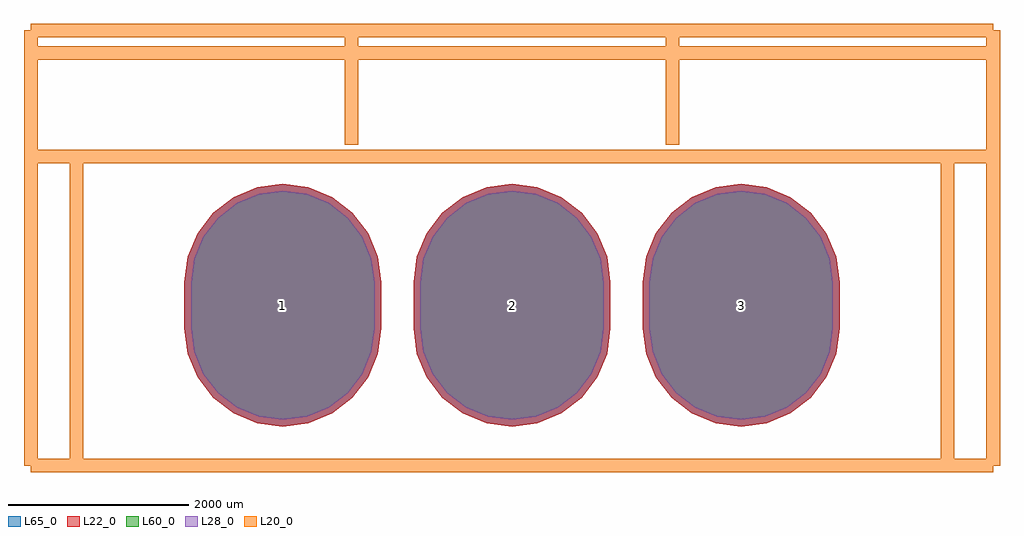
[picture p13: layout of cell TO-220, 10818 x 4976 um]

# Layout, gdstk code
import gdstk
lib = gdstk.Library(unit=1e-6, precision=1e-09)
def P(c, l, *ps):  # polygons
    for p in ps: c.add(gdstk.Polygon(p, *l))
L20_0 = (20, 0)
L22_0 = (22, 0)
L28_0 = (28, 0)
L60_0 = (60, 0)
L65_0 = (65, 0)

to_220 = lib.new_cell('TO-220')
P(to_220, L22_0, [(-2540,-1345),(-2257.628,-1307.825),(-1994.5,-1198.834),(-1768.547,-1025.453),(-1595.166,-799.5),(-1486.175,-536.372),(-1449,-254),(-1449,254),(-1486.175,536.372),(-1595.166,799.5),(-1768.547,1025.453),(-1994.5,1198.834),(-2257.628,1307.825),(-2540,1345),(-2822.372,1307.825),(-3085.5,1198.834),(-3311.453,1025.453),(-3484.834,799.5),(-3593.825,536.372),(-3631,254),(-3631,-254),(-3593.825,-536.372),(-3484.834,-799.5),(-3311.453,-1025.453),(-3085.5,-1198.834),(-2822.372,-1307.825)],
  [(2540,-1345),(2822.372,-1307.825),(3085.5,-1198.834),(3311.453,-1025.453),(3484.834,-799.5),(3593.825,-536.372),(3631,-254),(3631,254),(3593.825,536.372),(3484.834,799.5),(3311.453,1025.453),(3085.5,1198.834),(2822.372,1307.825),(2540,1345),(2257.628,1307.825),(1994.5,1198.834),(1768.547,1025.453),(1595.166,799.5),(1486.175,536.372),(1449,254),(1449,-254),(1486.175,-536.372),(1595.166,-799.5),(1768.547,-1025.453),(1994.5,-1198.834),(2257.628,-1307.825)],
  [(0,-1345),(282.372,-1307.825),(545.5,-1198.834),(771.453,-1025.453),(944.834,-799.5),(1053.825,-536.372),(1091,-254),(1091,254),(1053.825,536.372),(944.834,799.5),(771.453,1025.453),(545.5,1198.834),(282.372,1307.825),(0,1345),(-282.372,1307.825),(-545.5,1198.834),(-771.453,1025.453),(-944.834,799.5),(-1053.825,536.372),(-1091,254),(-1091,-254),(-1053.825,-536.372),(-944.834,-799.5),(-771.453,-1025.453),(-545.5,-1198.834),(-282.372,-1307.825)])
P(to_220, L28_0, [(-2540,-1270),(-2277.04,-1235.381),(-2032,-1133.882),(-1821.58,-972.42),(-1660.118,-762),(-1558.619,-516.96),(-1524,-254),(-1524,254),(-1558.619,516.96),(-1660.118,762),(-1821.58,972.42),(-2032,1133.882),(-2277.04,1235.381),(-2540,1270),(-2802.96,1235.381),(-3048,1133.882),(-3258.42,972.42),(-3419.882,762),(-3521.381,516.96),(-3556,254),(-3556,-254),(-3521.381,-516.96),(-3419.882,-762),(-3258.42,-972.42),(-3048,-1133.882),(-2802.96,-1235.381)],
  [(2540,-1270),(2802.96,-1235.381),(3048,-1133.882),(3258.42,-972.42),(3419.882,-762),(3521.381,-516.96),(3556,-254),(3556,254),(3521.381,516.96),(3419.882,762),(3258.42,972.42),(3048,1133.882),(2802.96,1235.381),(2540,1270),(2277.04,1235.381),(2032,1133.882),(1821.58,972.42),(1660.118,762),(1558.619,516.96),(1524,254),(1524,-254),(1558.619,-516.96),(1660.118,-762),(1821.58,-972.42),(2032,-1133.882),(2277.04,-1235.381)],
  [(0,-1270),(262.96,-1235.381),(508,-1133.882),(718.42,-972.42),(879.882,-762),(981.381,-516.96),(1016,-254),(1016,254),(981.381,516.96),(879.882,762),(718.42,972.42),(508,1133.882),(262.96,1235.381),(0,1270),(-262.96,1235.381),(-508,1133.882),(-718.42,972.42),(-879.882,762),(-981.381,516.96),(-1016,254),(-1016,-254),(-981.381,-516.96),(-879.882,-762),(-718.42,-972.42),(-508,-1133.882),(-262.96,-1235.381)])
P(to_220, L60_0, [(-2540,-1270),(-2277.04,-1235.381),(-2032,-1133.882),(-1821.58,-972.42),(-1660.118,-762),(-1558.619,-516.96),(-1524,-254),(-1524,254),(-1558.619,516.96),(-1660.118,762),(-1821.58,972.42),(-2032,1133.882),(-2277.04,1235.381),(-2540,1270),(-2802.96,1235.381),(-3048,1133.882),(-3258.42,972.42),(-3419.882,762),(-3521.381,516.96),(-3556,254),(-3556,-254),(-3521.381,-516.96),(-3419.882,-762),(-3258.42,-972.42),(-3048,-1133.882),(-2802.96,-1235.381)],
  [(2540,-1270),(2802.96,-1235.381),(3048,-1133.882),(3258.42,-972.42),(3419.882,-762),(3521.381,-516.96),(3556,-254),(3556,254),(3521.381,516.96),(3419.882,762),(3258.42,972.42),(3048,1133.882),(2802.96,1235.381),(2540,1270),(2277.04,1235.381),(2032,1133.882),(1821.58,972.42),(1660.118,762),(1558.619,516.96),(1524,254),(1524,-254),(1558.619,-516.96),(1660.118,-762),(1821.58,-972.42),(2032,-1133.882),(2277.04,-1235.381)],
  [(0,-1270),(262.96,-1235.381),(508,-1133.882),(718.42,-972.42),(879.882,-762),(981.381,-516.96),(1016,-254),(1016,254),(981.381,516.96),(879.882,762),(718.42,972.42),(508,1133.882),(262.96,1235.381),(0,1270),(-262.96,1235.381),(-508,1133.882),(-718.42,972.42),(-879.882,762),(-981.381,516.96),(-1016,254),(-1016,-254),(-981.381,-516.96),(-879.882,-762),(-718.42,-972.42),(-508,-1133.882),(-262.96,-1235.381)])
P(to_220, L65_0, [(-2540,-1345),(-2257.628,-1307.825),(-1994.5,-1198.834),(-1768.547,-1025.453),(-1595.166,-799.5),(-1486.175,-536.372),(-1449,-254),(-1449,254),(-1486.175,536.372),(-1595.166,799.5),(-1768.547,1025.453),(-1994.5,1198.834),(-2257.628,1307.825),(-2540,1345),(-2822.372,1307.825),(-3085.5,1198.834),(-3311.453,1025.453),(-3484.834,799.5),(-3593.825,536.372),(-3631,254),(-3631,-254),(-3593.825,-536.372),(-3484.834,-799.5),(-3311.453,-1025.453),(-3085.5,-1198.834),(-2822.372,-1307.825)],
  [(2540,-1345),(2822.372,-1307.825),(3085.5,-1198.834),(3311.453,-1025.453),(3484.834,-799.5),(3593.825,-536.372),(3631,-254),(3631,254),(3593.825,536.372),(3484.834,799.5),(3311.453,1025.453),(3085.5,1198.834),(2822.372,1307.825),(2540,1345),(2257.628,1307.825),(1994.5,1198.834),(1768.547,1025.453),(1595.166,799.5),(1486.175,536.372),(1449,254),(1449,-254),(1486.175,-536.372),(1595.166,-799.5),(1768.547,-1025.453),(1994.5,-1198.834),(2257.628,-1307.825)],
  [(0,-1345),(282.372,-1307.825),(545.5,-1198.834),(771.453,-1025.453),(944.834,-799.5),(1053.825,-536.372),(1091,-254),(1091,254),(1053.825,536.372),(944.834,799.5),(771.453,1025.453),(545.5,1198.834),(282.372,1307.825),(0,1345),(-282.372,1307.825),(-545.5,1198.834),(-771.453,1025.453),(-944.834,799.5),(-1053.825,536.372),(-1091,254),(-1091,-254),(-1053.825,-536.372),(-944.834,-799.5),(-771.453,-1025.453),(-545.5,-1198.834),(-282.372,-1307.825)])
to_220.add(gdstk.FlexPath([(5334,3048),(-5334,3048)], 149.998, ends="flush", simple_path=True, layer=20, datatype=0))  # L20_0
to_220.add(gdstk.FlexPath([(5334,3048),(5334,-1778)], 149.998, ends="flush", simple_path=True, layer=20, datatype=0))  # L20_0
to_220.add(gdstk.FlexPath([(-5334,3048),(-5334,-1778)], 149.998, ends="flush", simple_path=True, layer=20, datatype=0))  # L20_0
to_220.add(gdstk.FlexPath([(5334,-1778),(-5334,-1778)], 149.998, ends="flush", simple_path=True, layer=20, datatype=0))  # L20_0
to_220.add(gdstk.FlexPath([(-5334,1651),(5334,1651)], 149.998, ends="flush", simple_path=True, layer=20, datatype=0))  # L20_0
to_220.add(gdstk.FlexPath([(-1778,1778),(-1778,3048)], 149.998, ends="flush", simple_path=True, layer=20, datatype=0))  # L20_0
to_220.add(gdstk.FlexPath([(1778,1778),(1778,3048)], 149.998, ends="flush", simple_path=True, layer=20, datatype=0))  # L20_0
to_220.add(gdstk.FlexPath([(5334,2794),(-5334,2794)], 149.998, ends="flush", simple_path=True, layer=20, datatype=0))  # L20_0
to_220.add(gdstk.FlexPath([(-4826,1651),(-4826,-1778)], 149.998, ends="flush", simple_path=True, layer=20, datatype=0))  # L20_0
to_220.add(gdstk.FlexPath([(4826,1651),(4826,-1778)], 149.998, ends="flush", simple_path=True, layer=20, datatype=0))  # L20_0
to_220.add(gdstk.Label('1', (-2540,0), layer=28, texttype=0))
to_220.add(gdstk.Label('3', (2540,0), layer=28, texttype=0))
to_220.add(gdstk.Label('2', (0,0), layer=28, texttype=0))
to_220.add(gdstk.Label('type', (0,4318), layer=9, texttype=0))
to_220.add(gdstk.Label('devicename', (0,4318), layer=9, texttype=0))

lib.write_gds('TO-220.gds')
